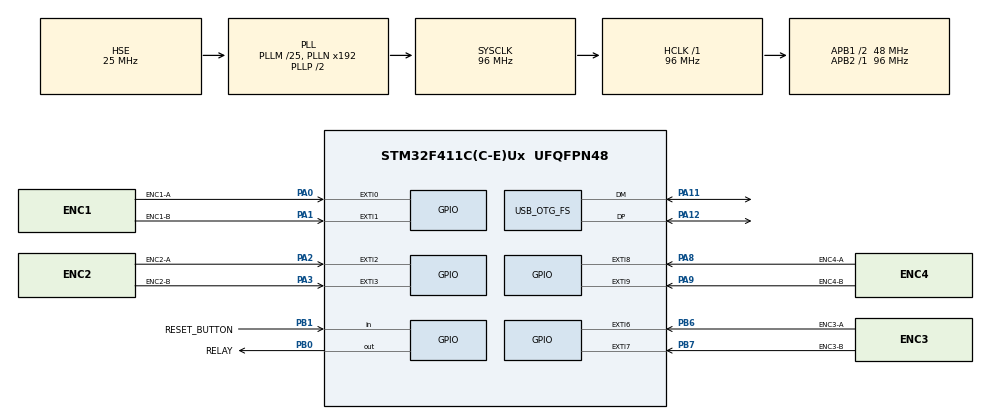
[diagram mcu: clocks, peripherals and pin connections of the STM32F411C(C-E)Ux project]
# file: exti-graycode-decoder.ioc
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Mcu.Family=STM32F4
Mcu.Name=STM32F411C(C-E)Ux
Mcu.Package=UFQFPN48
NVIC.EXTI0_IRQn=true\:0\:0\:false\:false\:true\:true\:true\:true
NVIC.EXTI1_IRQn=true\:1\:0\:true\:false\:true\:true\:true\:true
NVIC.EXTI2_IRQn=true\:1\:0\:true\:false\:true\:true\:true\:true
NVIC.EXTI3_IRQn=true\:1\:0\:true\:false\:true\:true\:true\:true
NVIC.EXTI9_5_IRQn=true\:1\:0\:true\:false\:true\:true\:true\:true
NVIC.OTG_FS_IRQn=true\:3\:0\:true\:false\:true\:false\:true\:true
NVIC.PriorityGroup=NVIC_PRIORITYGROUP_4
NVIC.TIM5_IRQn=true\:0\:0\:true\:false\:true\:false\:true\:true
NVIC.TimeBase=TIM5_IRQn
NVIC.TimeBaseIP=TIM5
PA0-WKUP.GPIO_Label=ENC1-A
PA0-WKUP.GPIO_ModeDefaultEXTI=GPIO_MODE_IT_RISING_FALLING
PA0-WKUP.GPIO_PuPd=GPIO_PULLUP
PA0-WKUP.Signal=GPXTI0
PA1.GPIO_Label=ENC1-B
PA1.GPIO_ModeDefaultEXTI=GPIO_MODE_IT_RISING_FALLING
PA1.GPIO_PuPd=GPIO_PULLUP
PA1.Signal=GPXTI1
PA11.Mode=Device_Only
PA11.Signal=USB_OTG_FS_DM
PA12.Mode=Device_Only
PA12.Signal=USB_OTG_FS_DP
PA13.Mode=Serial_Wire
PA13.Signal=SYS_JTMS-SWDIO
PA14.Mode=Serial_Wire
PA14.Signal=SYS_JTCK-SWCLK
PA2.GPIO_Label=ENC2-A
PA2.GPIO_ModeDefaultEXTI=GPIO_MODE_IT_RISING_FALLING
PA2.GPIO_PuPd=GPIO_PULLUP
PA2.Signal=GPXTI2
PA3.GPIO_Label=ENC2-B
PA3.GPIO_ModeDefaultEXTI=GPIO_MODE_IT_RISING_FALLING
PA3.GPIO_PuPd=GPIO_PULLUP
PA3.Signal=GPXTI3
PA8.GPIO_Label=ENC4-A
PA8.GPIO_ModeDefaultEXTI=GPIO_MODE_IT_RISING_FALLING
PA8.GPIO_PuPd=GPIO_PULLUP
PA8.Signal=GPXTI8
PA9.GPIO_Label=ENC4-B
PA9.GPIO_ModeDefaultEXTI=GPIO_MODE_IT_RISING_FALLING
PA9.GPIO_PuPd=GPIO_PULLUP
PA9.Signal=GPXTI9
PB0.GPIO_Label=RELAY
PB0.Signal=GPIO_Output
PB1.GPIO_Label=RESET_BUTTON
PB1.GPIO_PuPd=GPIO_PULLUP
PB1.Signal=GPIO_Input
PB6.GPIO_Label=ENC3-A
PB6.GPIO_PuPd=GPIO_PULLUP
PB6.Signal=GPXTI6
PB7.GPIO_Label=ENC3-B
PB7.GPIO_PuPd=GPIO_PULLUP
PB7.Signal=GPXTI7
PH0\ -\ OSC_IN.Mode=HSE-External-Oscillator
PH0\ -\ OSC_IN.Signal=RCC_OSC_IN
PH1\ -\ OSC_OUT.Mode=HSE-External-Oscillator
PH1\ -\ OSC_OUT.Signal=RCC_OSC_OUT
ProjectManager.HeapSize=0x200
ProjectManager.StackSize=0x400
ProjectManager.TargetToolchain=Makefile
RCC.48MHZClocksFreq_Value=48000000
RCC.AHBFreq_Value=96000000
RCC.APB1CLKDivider=RCC_HCLK_DIV2
RCC.APB1Freq_Value=48000000
RCC.APB1TimFreq_Value=96000000
RCC.APB2Freq_Value=96000000
RCC.APB2TimFreq_Value=96000000
RCC.CortexFreq_Value=96000000
RCC.HCLKFreq_Value=96000000
RCC.HSE_VALUE=25000000
RCC.HSI_VALUE=16000000
RCC.LSE_VALUE=32768
RCC.PLLM=25
RCC.SYSCLKFreq_VALUE=96000000
RCC.SYSCLKSource=RCC_SYSCLKSOURCE_PLLCLK
RCC.VCOOutputFreq_Value=192000000
USB_DEVICE.CLASS_NAME_FS=CDC
USB_DEVICE.VirtualMode=Cdc
USB_DEVICE.VirtualModeFS=Cdc_FS
USB_OTG_FS.VirtualMode=Device_Only
VP_SYS_VS_tim5.Mode=TIM5
VP_USB_DEVICE_VS_USB_DEVICE_CDC_FS.Mode=CDC_FS
board=custom

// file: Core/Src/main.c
/* USER CODE BEGIN Header */
/**
  ******************************************************************************
  * @file           : main.c
  * @brief          : Main program body
  ******************************************************************************
  * @attention
  *
  * Copyright (c) 2026 STMicroelectronics.
  * All rights reserved.
  *
  * This software is licensed under terms that can be found in the LICENSE file
  * in the root directory of this software component.
  * If no LICENSE file comes with this software, it is provided AS-IS.
  *
  ******************************************************************************
  */
/* USER CODE END Header */
#include "main.h"
#include "usb_device.h"
#include "gpio.h"

/* USER CODE BEGIN PV */
#include "usbd_cdc_if.h" // USB üzerinden bilgisayara veri basabilmek için gereken kütüphane

// 4 adet enkoder için anlık konum sayaçları (0-79 arası sınırlandırılacak)
volatile int32_t enc_counts[4] = {0, 0, 0, 0};

// Enkoderların bir önceki lojik durum geçmişi: (Kanal_A << 1) | Kanal_B
volatile uint8_t enc_state_history[4] = {0, 0, 0, 0};

// USB üzerinden Python'dan gelen verileri yakalayacağımız buffer (usbd_cdc_if.c içinde tanımlıdır)
extern uint8_t UserRxBufferFS[APP_RX_DATA_SIZE];
/* USER CODE END PV */

void SystemClock_Config(void);

int main(void)
{

  /* MCU Configuration--------------------------------------------------------*/

  /* Reset of all peripherals, Initializes the Flash interface and the Systick. */
  HAL_Init();

  /* Configure the system clock */
  SystemClock_Config();

  /* Initialize all configured peripherals */
  MX_GPIO_Init();
  MX_USB_DEVICE_Init();

  /* Infinite loop */
/* USER CODE BEGIN WHILE */
  while (1)
  {
      // 1. Fiziksel Reset Butonu Kontrolü ve Debounce Güvenliği (PB1)
      if (HAL_GPIO_ReadPin(GPIOB, GPIO_PIN_1) == GPIO_PIN_RESET) {
          HAL_Delay(50); // Debounce gecikmesi (Gürültüyü engelle)

          // Sayaçları sıfırla
          enc_counts[0] = 0; enc_counts[1] = 0; enc_counts[2] = 0; enc_counts[3] = 0;

          // Çarkların anlık fiziksel lojik durumlarını (ok yönü orijini) hafızaya kilitle
          enc_state_history[0] = (HAL_GPIO_ReadPin(GPIOA, GPIO_PIN_0) << 1) | HAL_GPIO_ReadPin(GPIOA, GPIO_PIN_1);
          enc_state_history[1] = (HAL_GPIO_ReadPin(GPIOA, GPIO_PIN_2) << 1) | HAL_GPIO_ReadPin(GPIOA, GPIO_PIN_3);
          enc_state_history[2] = (HAL_GPIO_ReadPin(GPIOB, GPIO_PIN_6) << 1) | HAL_GPIO_ReadPin(GPIOB, GPIO_PIN_7);
          enc_state_history[3] = (HAL_GPIO_ReadPin(GPIOA, GPIO_PIN_8) << 1) | HAL_GPIO_ReadPin(GPIOA, GPIO_PIN_9);

          HAL_GPIO_WritePin(GPIOB, GPIO_PIN_0, GPIO_PIN_SET); // Kilidi kapat

          // Buton bırakılana kadar burada bekle (Sürekli tetiklenmeyi engeller)
          // Timeout: 1 saniye (Buton takıldığında sistemin blok olmasını engelle)
          uint32_t button_timeout = HAL_GetTick() + 1000;
          while(HAL_GPIO_ReadPin(GPIOB, GPIO_PIN_1) == GPIO_PIN_RESET && HAL_GetTick() < button_timeout);
      }

      // 2. Python'dan Gelen USB Komutlarının Güvenli (Race Condition Korumalı) Kontrolü
      // Ana buffer'ın anlık kopyasını alıyoruz (Thread-Safe yaklaşım)
      char rx_copy[APP_RX_DATA_SIZE];
      __disable_irq(); // Kopyalama esnasında USB kesmesini milisaniyeliğine durdur
      strncpy(rx_copy, (char*)UserRxBufferFS, APP_RX_DATA_SIZE);
      memset(UserRxBufferFS, 0, APP_RX_DATA_SIZE); // Orijinal buffer'ı hemen güvenle temizle
      __enable_irq();  // Kesmeleri geri aç

      // İşlemleri kopyalanan güvenli veri üzerinden yürüt
      if (strstr(rx_copy, "OPEN") != NULL) {
          HAL_GPIO_WritePin(GPIOB, GPIO_PIN_0, GPIO_PIN_SET); // Kilidi aç
      }
      else if (strstr(rx_copy, "CLOSE") != NULL) {
          HAL_GPIO_WritePin(GPIOB, GPIO_PIN_0, GPIO_PIN_RESET); // Kilidi kapat
      }
      else if (strstr(rx_copy, "RESET") != NULL) {
          // Python'dan gelen yazılımsal sıfırlama emri
          enc_counts[0] = 0; enc_counts[1] = 0; enc_counts[2] = 0; enc_counts[3] = 0;
      }

      // 3. Atomik Veri Okuma (Kesme esnasında değerlerin değişmesine karşı güvence)
      int32_t s1 = enc_counts[0];
      int32_t s2 = enc_counts[1];
      int32_t s3 = enc_counts[2];
      int32_t s4 = enc_counts[3];

      // 4. Güvenli Buffer Paketleme (Buffer Overflow Koruması)
      char msg[64];
      // sprintf yerine snprintf kullanarak maksimum 64 bayt sınırını donanımsal olarak koruyoruz
      int len = snprintf(msg, sizeof(msg), "%ld,%ld,%ld,%ld\n", s1, s2, s3, s4);

      if (len > 0 && len < sizeof(msg)) {
          CDC_Transmit_FS((uint8_t*)msg, len); // USB hattına veriyi bas
      }

      // 5. Ekran Yenileme Payı
      HAL_Delay(16); // ~60 Hz
  }
    /* USER CODE END WHILE */

  }

void SystemClock_Config(void)
{
  RCC_OscInitTypeDef RCC_OscInitStruct = {0};
  RCC_ClkInitTypeDef RCC_ClkInitStruct = {0};

  /** Configure the main internal regulator output voltage
  */
  __HAL_RCC_PWR_CLK_ENABLE();
  __HAL_PWR_VOLTAGESCALING_CONFIG(PWR_REGULATOR_VOLTAGE_SCALE1);

  /** Initializes the RCC Oscillators according to the specified parameters
  * in the RCC_OscInitTypeDef structure.
  */
  RCC_OscInitStruct.OscillatorType = RCC_OSCILLATORTYPE_HSE;
  RCC_OscInitStruct.HSEState = RCC_HSE_ON;
  RCC_OscInitStruct.PLL.PLLState = RCC_PLL_ON;
  RCC_OscInitStruct.PLL.PLLSource = RCC_PLLSOURCE_HSE;
  RCC_OscInitStruct.PLL.PLLM = 25;
  RCC_OscInitStruct.PLL.PLLN = 192;
  RCC_OscInitStruct.PLL.PLLP = RCC_PLLP_DIV2;
  RCC_OscInitStruct.PLL.PLLQ = 4;
  if (HAL_RCC_OscConfig(&RCC_OscInitStruct) != HAL_OK)
  {
    Error_Handler();
  }

  /** Initializes the CPU, AHB and APB buses clocks
  */
  RCC_ClkInitStruct.ClockType = RCC_CLOCKTYPE_HCLK|RCC_CLOCKTYPE_SYSCLK
                              |RCC_CLOCKTYPE_PCLK1|RCC_CLOCKTYPE_PCLK2;
  RCC_ClkInitStruct.SYSCLKSource = RCC_SYSCLKSOURCE_PLLCLK;
  RCC_ClkInitStruct.AHBCLKDivider = RCC_SYSCLK_DIV1;
  RCC_ClkInitStruct.APB1CLKDivider = RCC_HCLK_DIV2;
  RCC_ClkInitStruct.APB2CLKDivider = RCC_HCLK_DIV1;

  if (HAL_RCC_ClockConfig(&RCC_ClkInitStruct, FLASH_LATENCY_3) != HAL_OK)
  {
    Error_Handler();
  }
}

/* USER CODE BEGIN 4 */
void HAL_GPIO_EXTI_Callback(uint16_t GPIO_Pin)
{
    uint8_t enc_index = 0;
    uint8_t current_A = 0;
    uint8_t current_B = 0;

    // 1. ADIM: Hangi pinden kesme geldiğini ve o anki lojik durumu (0 veya 1) tespit ediyoruz
    if (GPIO_Pin == GPIO_PIN_0 || GPIO_Pin == GPIO_PIN_1) {
        enc_index = 0; // Enkoder 1 (PA0 - PA1)
        current_A = HAL_GPIO_ReadPin(GPIOA, GPIO_PIN_0);
        current_B = HAL_GPIO_ReadPin(GPIOA, GPIO_PIN_1);
    }
    else if (GPIO_Pin == GPIO_PIN_2 || GPIO_Pin == GPIO_PIN_3) {
        enc_index = 1; // Enkoder 2 (PA2 - PA3) - Sıfır çakışmalı yeni yerimiz!
        current_A = HAL_GPIO_ReadPin(GPIOA, GPIO_PIN_2);
        current_B = HAL_GPIO_ReadPin(GPIOA, GPIO_PIN_3);
    }
    else if (GPIO_Pin == GPIO_PIN_6 || GPIO_Pin == GPIO_PIN_7) {
        enc_index = 2; // Enkoder 3 (PB6 - PB7) - Portu GPIOB olarak düzelttik!
        current_A = HAL_GPIO_ReadPin(GPIOB, GPIO_PIN_6);
        current_B = HAL_GPIO_ReadPin(GPIOB, GPIO_PIN_7);
    }
    else if (GPIO_Pin == GPIO_PIN_8 || GPIO_Pin == GPIO_PIN_9) {
        enc_index = 3; // Enkoder 4 (PA8 - PA9)
        current_A = HAL_GPIO_ReadPin(GPIOA, GPIO_PIN_8);
        current_B = HAL_GPIO_ReadPin(GPIOA, GPIO_PIN_9);
    }
    else {
        return; // Bizim enkoderlar dışından bir kesme geldiyse fonksiyondan çık
    }

    // 2. ADIM: İki pindeki lojik durumu tek bir 2-bitlik sayıda birleştiriyoruz (Örn: A=1, B=0 ise durum 10 yani 2)
    uint8_t current_state = (current_A << 1) | current_B;
    uint8_t old_state = enc_state_history[enc_index];

    // Eğer donanımsal bir durum değişimi varsa lojiği işlet
    if (old_state != current_state) {
        // 3. ADIM: Gray kodu durum geçiş matrisine göre yön tayini (00->01, 01->11, 11->10, 10->00 İleri yön)
        if ((old_state == 0 && current_state == 1) ||
            (old_state == 1 && current_state == 3) ||
            (old_state == 3 && current_state == 2) ||
            (old_state == 2 && current_state == 0)) {

            enc_counts[enc_index]++; // Saat yönünde dönüyor, sayacı arttır
        }
        else {
            enc_counts[enc_index]--; // Ters yönde dönüyor, sayacı azalt
        }

        // 4. ADIM: Çarkı 0-19 adım arasına hapsetme (Dairesel döngü)
        if (enc_counts[enc_index] > 19) enc_counts[enc_index] = 0;
        if (enc_counts[enc_index] < 0) enc_counts[enc_index] = 19;

        // Güncel durumu bir sonraki kesme için hafızaya kaydet
        enc_state_history[enc_index] = current_state;
    }
}
/* USER CODE END 4 */

void HAL_TIM_PeriodElapsedCallback(TIM_HandleTypeDef *htim)
{
  if (htim->Instance == TIM5)
  {
    HAL_IncTick();
  }
}

void Error_Handler(void)
{
  __disable_irq();
  while (1)
  {
  }
}
